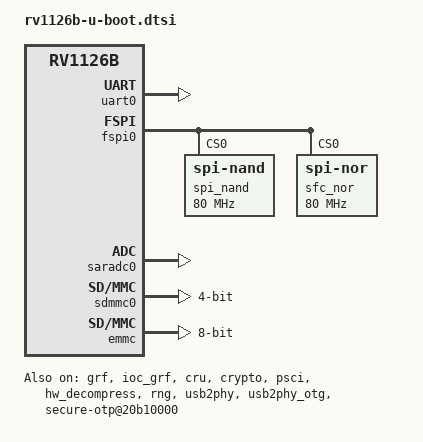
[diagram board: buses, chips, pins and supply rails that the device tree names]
/*
 * (C) Copyright 2025 Rockchip Electronics Co., Ltd
 *
 * SPDX-License-Identifier:     GPL-2.0+
 */

#include <dt-bindings/gpio/gpio.h>

/ {
	aliases {
		mmc0 = &emmc;
		mmc1 = &sdmmc0;
	};

	chosen {
		stdout-path = &uart0;
		u-boot,spl-boot-order = &sdmmc0, &spi_nand, &spi_nor, &emmc;
	};

	secure-otp@20b10000 {
		compatible = "rockchip,rv1126b-secure-otp";
		reg = <0x20b10000 0x10000>;
		secure_conf = <0x2022001c>;
		cru_rst_addr = <0x20200a00>;
		mask_addr = <0x20ba0000>;
		u-boot,dm-spl;
		status = "okay";
	};
};

&gpio0 {
	u-boot,dm-spl;
	status = "okay";
};

&gpio1 {
	u-boot,dm-pre-reloc;
	status = "okay";
};

&gpio2 {
	u-boot,dm-spl;
	status = "okay";
};

&gpio3 {
	u-boot,dm-pre-reloc;
	status = "okay";
};

&gpio4 {
	u-boot,dm-pre-reloc;
	status = "okay";
};

&grf {
	u-boot,dm-spl;
	status = "okay";
};

&ioc_grf {
	u-boot,dm-spl;
	status = "okay";
};

&cru {
	u-boot,dm-spl;
	status = "okay";
};

&crypto {
	u-boot,dm-spl;
	status = "okay";
};

&psci {
	u-boot,dm-pre-reloc;
	status = "okay";
};

&uart0 {
	u-boot,dm-spl;
	status = "okay";
};

&hw_decompress {
	u-boot,dm-spl;
	status = "okay";
};

&rng {
	u-boot,dm-pre-reloc;
	status = "okay";
};

&fspi0 {
	u-boot,dm-spl;
	status = "okay";

	#address-cells = <1>;
	#size-cells = <0>;
	spi_nand: flash@0 {
		u-boot,dm-spl;
		compatible = "spi-nand";
		reg = <0>;
		spi-tx-bus-width = <1>;
		spi-rx-bus-width = <4>;
		spi-max-frequency = <80000000>;
	};

	spi_nor: flash@1 {
		u-boot,dm-spl;
		compatible = "jedec,spi-nor";
		label = "sfc_nor";
		reg = <0>;
		spi-tx-bus-width = <1>;
		spi-rx-bus-width = <4>;
		spi-max-frequency = <80000000>;
	};
};

&saradc0 {
	u-boot,dm-pre-reloc;
	status = "okay";
};

&sdmmc0 {
	bus-width = <4>;
	pinctrl-names = "default";
	pinctrl-0 = <&sdmmc0_bus4_pins &sdmmc0_cmd_pins &sdmmc0_clk_pins &sdmmc0_detn_pins>;
	u-boot,dm-spl;
	status = "okay";
};

&emmc {
	bus-width = <8>;
	mmc-hs200-1_8v;
	u-boot,dm-spl;
	status = "okay";
};

&sdmmc0_pins {
	u-boot,dm-spl;
};

&sdmmc0_bus4_pins {
	u-boot,dm-spl;
};

&sdmmc0_cmd_pins {
	u-boot,dm-spl;
};

&sdmmc0_clk_pins {
	u-boot,dm-spl;
};

&sdmmc0_detn_pins {
	u-boot,dm-spl;
};

&pinctrl {
	u-boot,dm-spl;
	status = "okay";
};

&pcfg_pull_up {
	u-boot,dm-spl;
};

&pcfg_pull_none {
	u-boot,dm-spl;
};

&usb2phy {
	u-boot,dm-pre-reloc;
	status = "okay";
};

&usb2phy_otg {
	u-boot,dm-pre-reloc;
	status = "okay";
};
